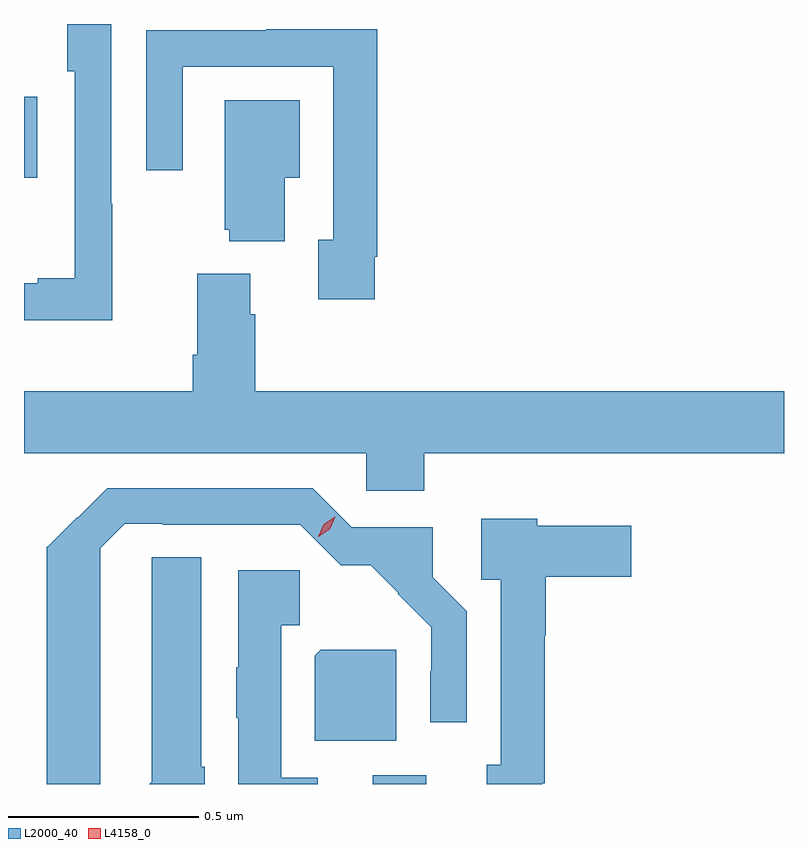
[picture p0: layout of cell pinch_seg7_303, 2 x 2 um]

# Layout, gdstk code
import gdstk
lib = gdstk.Library(unit=1e-6, precision=1e-09)
def R(c, l, rs):  # rectangles x0, y0, x1, y1
    for r in rs: c.add(gdstk.rectangle(r[:2], r[2:], *l))
def P(c, l, *ps):  # polygons
    for p in ps: c.add(gdstk.Polygon(p, *l))
L2000_40 = (2000, 40)
L4158_0 = (4158, 0)

pinch_seg7_303 = lib.new_cell('pinch_seg7_303')
R(pinch_seg7_303, L2000_40, [(569.759,1075.67,569.899,1075.693), (568.841,1077.266,568.876,1077.478)])
P(pinch_seg7_303, L2000_40, [(569.073,1077.197),(569.07,1077.197),(569.07,1077.67),(568.955,1077.67),(568.955,1077.546),(568.974,1077.546),(568.974,1077.001),(568.877,1077.001),(568.877,1076.988),(568.841,1076.988),(568.841,1076.891),(569.073,1076.891)],
  [(569.764,1077.058),(569.771,1077.058),(569.771,1077.656),(569.479,1077.656),(569.479,1077.654),(569.163,1077.654),(569.163,1077.285),(569.259,1077.285),(569.259,1077.558),(569.655,1077.558),(569.655,1077.102),(569.615,1077.102),(569.615,1076.946),(569.764,1076.946)],
  [(569.527,1077.266),(569.566,1077.266),(569.566,1077.469),(569.369,1077.469),(569.369,1077.129),(569.381,1077.129),(569.381,1077.098),(569.527,1077.098)],
  [(569.894,1076.54),(570.841,1076.54),(570.841,1076.704),(569.45,1076.704),(569.45,1076.906),(569.437,1076.906),(569.437,1077.013),(569.297,1077.013),(569.297,1076.8),(569.285,1076.8),(569.285,1076.704),(568.841,1076.704),(568.841,1076.54),(569.742,1076.54),(569.742,1076.442),(569.894,1076.442)],
  [(569.041,1076.186),(569.042,1076.186),(569.042,1076.291),(569.106,1076.355),(569.206,1076.355),(569.206,1076.352),(569.568,1076.352),(569.674,1076.246),(569.753,1076.246),(569.826,1076.173),(569.824,1076.171),(569.913,1076.082),(569.913,1075.967),(569.91,1075.967),(569.91,1075.833),(570.006,1075.833),(570.006,1076.125),(569.917,1076.214),(569.917,1076.346),(569.703,1076.346),(569.601,1076.448),(569.06,1076.448),(568.982,1076.371),(568.981,1076.372),(568.904,1076.295),(568.901,1076.295),(568.901,1075.67),(569.041,1075.67)],
  [(570.205,1075.672),(570.212,1075.672),(570.212,1076.061),(570.214,1076.061),(570.214,1076.216),(570.439,1076.216),(570.439,1076.35),(570.192,1076.35),(570.192,1076.368),(570.044,1076.368),(570.044,1076.208),(570.096,1076.208),(570.096,1075.721),(570.059,1075.721),(570.059,1075.67),(570.205,1075.67)],
  [(569.317,1075.716),(569.308,1075.716),(569.308,1076.267),(569.177,1076.267),(569.177,1075.676),(569.171,1075.67),(569.317,1075.67)],
  [(569.614,1075.686),(569.518,1075.686),(569.518,1076.088),(569.566,1076.088),(569.566,1076.233),(569.405,1076.233),(569.405,1075.977),(569.399,1075.977),(569.399,1075.845),(569.405,1075.845),(569.405,1075.67),(569.614,1075.67)],
  [(569.821,1076.023),(569.622,1076.023),(569.606,1076.007),(569.606,1075.784),(569.821,1075.784)])
P(pinch_seg7_303, L4158_0, [(569.615,1076.321),(569.615,1076.321),(569.63,1076.354),(569.66,1076.373),(569.66,1076.373),(569.66,1076.373),(569.645,1076.34),(569.615,1076.321)])

lib.write_gds('pinch_seg7_303.gds')
